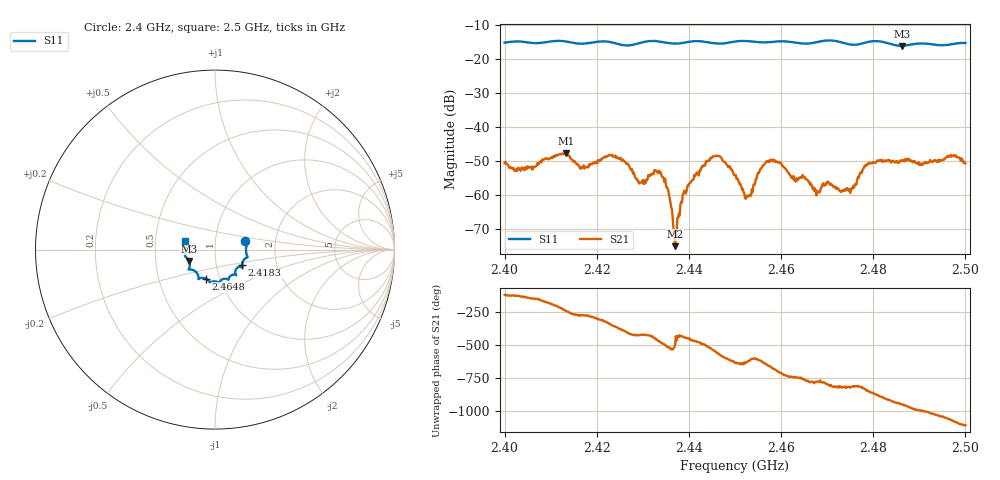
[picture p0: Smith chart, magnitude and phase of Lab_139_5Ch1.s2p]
# Hz S RI R 50
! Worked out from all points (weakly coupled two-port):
!   601 points, 2.4 GHz to 2.5 GHz, reference 50 ohm
!   highest |S21| = -47.71 dB at 2.4133 GHz (marker M1); lowest = -75.0 dB at 2.437 GHz (marker M2)
!   lowest |S11| = -16.1 dB at 2.4862 GHz (marker M3), VSWR 1.37, Z = 37.1 - j4.81 ohm
!   |S11| at or under -10 dB: start of sweep to end of sweep
!   S12 and S22 are empty: the file has one direction only
!   S11 on the Smith chart (normalised r, x): 2.4 GHz: 1.40, +0.13; 2.4183 GHz: 1.33, -0.24; 2.4648 GHz: 0.86, -0.29; 2.5 GHz: 0.71, +0.07
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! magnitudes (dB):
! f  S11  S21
! 2.4 GHz  -15.1  -50.5
! 2.4133 GHz  -14.8  -47.7
! 2.4167 GHz  -15.4  -51.7
! 2.4183 GHz  -15.2  -51.0
! 2.4235 GHz  -15.1  -48.7
! 2.4297 GHz  -15.1  -56.3
! 2.4333 GHz  -14.7  -53.4
! 2.4353 GHz  -15.2  -57.9
! 2.437 GHz  -15.4  -75.0
! 2.4392 GHz  -15.1  -59.1
! 2.4442 GHz  -15.0  -49.9
! 2.4467 GHz  -15.4  -48.5
! 2.45 GHz  -14.8  -54.1
! 2.4527 GHz  -14.7  -60.5
! 2.4573 GHz  -15.0  -49.9
! 2.4648 GHz  -15.4  -54.6
! 2.4667 GHz  -15.3  -57.2
! 2.475 GHz  -15.7  -59.3
! 2.4787 GHz  -15.0  -50.9
! 2.4833 GHz  -15.3  -49.9
! 2.4862 GHz  -16.1  -49.8
! 2.5 GHz  -15.2  -50.6
